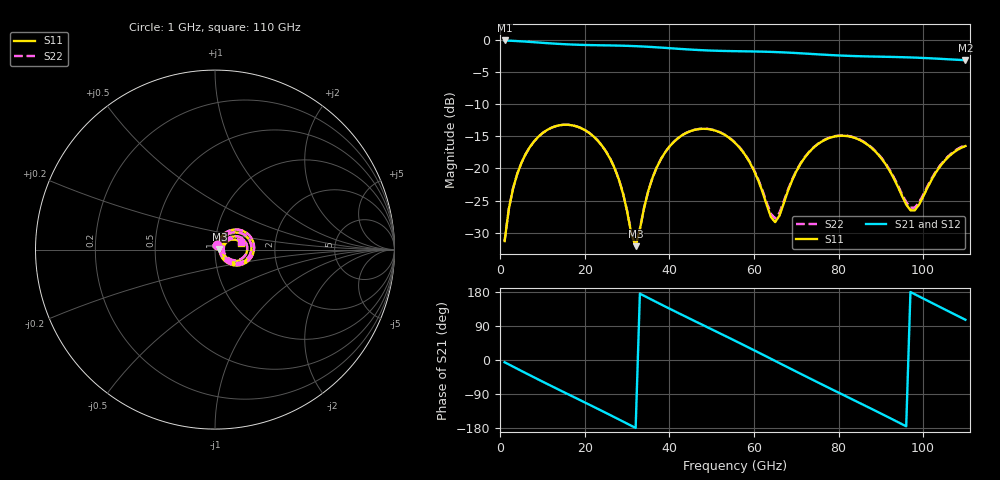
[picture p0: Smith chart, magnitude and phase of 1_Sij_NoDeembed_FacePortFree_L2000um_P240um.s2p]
! Touchstone file exported from HFSS 2024.2.0
!  File:  C:/Users/vaintrug/Documents/Ansoft_Workspace/Comparaison_Calculs_HFSS/1_VarPort.aedt
!  Generated:  03:22:19 PM Jan 21, 2025
!  Design:  1_NoDeembed_FacePortFree
!  Project:  1_VarPort
!  Setup:  Setup1
!  Solution:  Sweep
! Variables:
!  $Lenght = 2000um
!  $PortSize = 240um
!  Gap = 30um
!  Th = 2um
!  X_centralStrip = 20um
!  X_masse = 200um
!  Y_Sub = 2mm
!  Z_Box = 400um
!  Z_Sub = 200um
# GHz S MA R 50.000000
! Terminal data exported
! Port[1] = 1
! Port[2] = 2
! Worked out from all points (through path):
!   110 points, 1 GHz to 110 GHz, reference 50 ohm
!   highest |S21| = -0.13 dB at 1 GHz (marker M1); lowest = -3.2 dB at 110 GHz (marker M2)
!   group delay of S21, straight-line fit = 15.5 ps
!   lowest |S11| = -32.1 dB at 32 GHz (marker M3), VSWR 1.05, Z = 52.5 + j0.323 ohm
!   |S11| at or under -10 dB: start of sweep to end of sweep
!   |S22| runs from -31.8 to -13.2 dB; largest |S21 - S12| = 1.2e-14
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1  0.02731 60.9  0.9854 -5.9  0.9854 -5.9  0.02731 61.0
! Gamma 6.0973167437371 50.3458345350662 5.8001151618476 49.8967269513482
! Port Impedance 50 0 50 0
3  0.07 65.6  0.9783 -17.4  0.9783 -17.4  0.07 65.6
7  0.1469 48.6  0.9602 -40.3  0.9602 -40.3  0.147 48.8
13  0.2125 17.7  0.9303 -73.8  0.9303 -73.8  0.2126 18.1
20  0.1984 -17.5  0.9091 -112.1  0.9091 -112.1  0.1987 -16.9
27  0.1007 -47.2  0.9001 -151.0  0.9001 -151.0  0.1012 -46.2
32  0.02492 7.1  0.8898 -179.3  0.8898 -179.3  0.02558 7.2
35  0.06713 54.2  0.8798 163.7  0.8798 163.7  0.06721 54.5
38  0.1185 48.2  0.8673 146.7  0.8673 146.7  0.1186 48.8
43  0.1811 27.1  0.8451 119.0  0.8451 119.0  0.1813 28.1
47  0.2023 8.8  0.8302 97.1  0.8302 97.1  0.2027 10.0
51  0.196 -9.4  0.82 75.4  0.82 75.4  0.1965 -7.9
56  0.1523 -30.4  0.8132 48.0  0.8132 48.0  0.1532 -28.4
61  0.08076 -41.7  0.808 20.1  0.808 20.1  0.08225 -38.9
65  0.03832 1.4  0.801 -2.4  0.801 -2.4  0.04088 2.5
70  0.0949 40.8  0.7868 -30.7  0.7868 -30.7  0.09594 41.2
74  0.1441 29.8  0.7728 -53.0  0.7728 -53.0  0.145 30.9
83  0.1759 -6.8  0.747 -102.6  0.747 -102.6  0.177 -4.8
92  0.09702 -35.2  0.7349 -152.4  0.7349 -152.4  0.09863 -32.0
98  0.04724 6.2  0.7253 173.7  0.7253 173.7  0.04955 8.4
104  0.1037 31.7  0.7098 139.8  0.7098 139.8  0.1054 34.0
110  0.1492 13.5  0.6923 106.2  0.6923 106.2  0.1517 16.9
